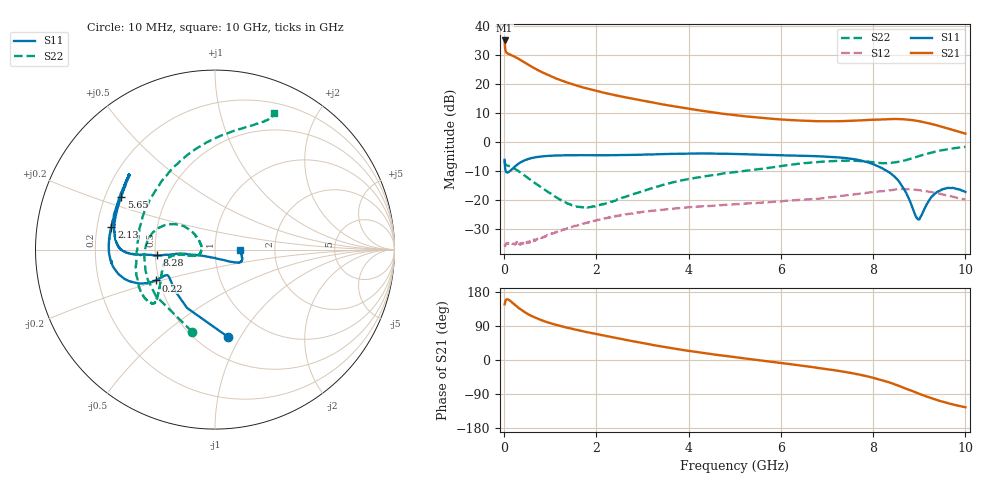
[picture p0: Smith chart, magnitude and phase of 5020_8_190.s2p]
# Hz S  dB  R 50
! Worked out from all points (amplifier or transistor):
!   1000 points, 10 MHz to 10 GHz, reference 50 ohm
!   highest |S21| = 35.0 dB at 10 MHz (marker M1)
!   |S21| within 3 dB of that: start of sweep to 25.5 MHz
!   unconditionally stable (mu >= 1): 56.68 MHz to end of sweep
!   at 1.67 GHz: K = 1.15, MAG = 21.3 dB, |S12| = -28.3 dB
!   at 5.01 GHz: K = 1.12, MAG = 13.3 dB, |S12| = -21.5 dB
!   at 10 GHz: K = 1.12, MAG = 9.3 dB, |S12| = -19.8 dB
!   S11 on the Smith chart (normalised r, x): 10 MHz: 0.69, -0.89; 220 MHz: 0.48, -0.19; 2.13 GHz: 0.26, +0.10; 5.65 GHz: 0.27, +0.25; 8.28 GHz: 0.51, -0.04; 10 GHz: 1.32, -0.01
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1e7  -6.15 -81.5  34.99 147.0  -35.23 22.7  -6.46 -105.5
7e7  -10.52 -150.1  30.57 160.2  -35.07 9.1  -8.08 -175.6
8e7  -10.47 -151.1  30.47 159.9  -35.02 5.6  -8.18 -178.1
1.2e8  -10.07 -152.6  30.18 157.0  -35.04 8.5  -8.36 174.3
2.2e8  -8.63 -152.3  29.47 146.7  -34.97 11.5  -9.15 162.1
3.4e8  -7.16 -154.5  28.40 135.0  -35.11 18.1  -10.34 152.9
4.9e8  -6.02 -159.0  26.96 122.9  -34.84 25.0  -12.08 145.9
6.1e8  -5.47 -162.4  25.83 115.3  -33.94 28.9  -13.44 142.9
7.6e8  -5.07 -166.5  24.55 107.3  -33.16 34.9  -15.11 141.8
9.3e8  -4.81 -170.2  23.24 100.0  -32.06 38.6  -16.99 143.2
1.13e9  -4.65 -174.4  21.87 92.6  -30.99 41.5  -19.05 147.8
1.36e9  -4.58 -178.7  20.53 85.4  -29.81 42.4  -21.13 156.5
1.68e9  -4.54 175.7  18.95 76.5  -28.20 43.5  -22.40 173.6
2.13e9  -4.57 167.5  17.12 65.1  -26.46 41.1  -21.41 -167.0
3.34e9  -4.22 146.1  13.24 37.1  -23.50 27.6  -15.32 -170.2
5.01e9  -4.12 142.1  9.25 7.3  -21.54 10.0  -10.34 -162.1
5.65e9  -4.43 150.6  8.20 -2.5  -20.84 4.0  -9.08 -149.7
6.67e9  -4.83 168.6  7.24 -18.4  -19.66 -6.5  -7.07 -138.5
8.28e9  -9.79 -174.5  7.84 -56.5  -16.80 -37.7  -7.31 170.4
8.34e9  -10.35 -174.0  7.86 -58.8  -16.67 -39.1  -7.19 165.1
8.97e9  -26.58 -107.5  7.24 -87.7  -16.55 -65.9  -4.97 102.6
1e10  -17.20 -1.0  2.90 -124.7  -19.78 -99.8  -1.65 66.6
